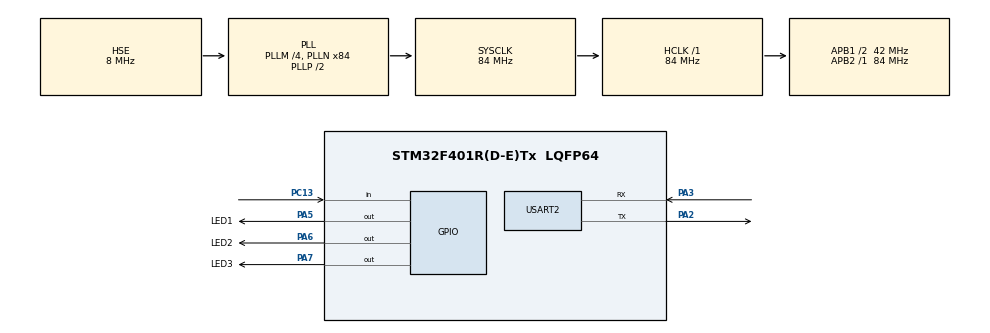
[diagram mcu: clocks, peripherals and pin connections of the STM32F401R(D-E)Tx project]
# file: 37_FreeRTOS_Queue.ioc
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Mcu.Family=STM32F4
Mcu.Name=STM32F401R(D-E)Tx
Mcu.Package=LQFP64
NVIC.PriorityGroup=NVIC_PRIORITYGROUP_4
NVIC.TIM1_TRG_COM_TIM11_IRQn=true\:15\:0\:false\:false\:true\:false\:true\:true
NVIC.TimeBase=TIM1_TRG_COM_TIM11_IRQn
NVIC.TimeBaseIP=TIM11
NVIC.USART2_IRQn=true\:0\:0\:false\:false\:true\:true\:true\:true
PA2.Mode=Asynchronous
PA2.Signal=USART2_TX
PA3.Mode=Asynchronous
PA3.Signal=USART2_RX
PA5.GPIO_Label=LED1
PA5.Signal=GPIO_Output
PA6.GPIO_Label=LED2
PA6.Signal=GPIO_Output
PA7.GPIO_Label=LED3
PA7.Signal=GPIO_Output
PC13-ANTI_TAMP.Signal=GPIO_Input
PH0\ -\ OSC_IN.Mode=HSE-External-Clock-Source
PH0\ -\ OSC_IN.Signal=RCC_OSC_IN
PH1\ -\ OSC_OUT.Mode=HSE-External-Clock-Source
PH1\ -\ OSC_OUT.Signal=RCC_OSC_OUT
ProjectManager.HeapSize=0x200
ProjectManager.StackSize=0x400
ProjectManager.TargetToolchain=STM32CubeIDE
RCC.48MHZClocksFreq_Value=42000000
RCC.AHBFreq_Value=84000000
RCC.APB1CLKDivider=RCC_HCLK_DIV2
RCC.APB1Freq_Value=42000000
RCC.APB1TimFreq_Value=84000000
RCC.APB2Freq_Value=84000000
RCC.APB2TimFreq_Value=84000000
RCC.CortexFreq_Value=84000000
RCC.HCLKFreq_Value=84000000
RCC.HSE_VALUE=8000000
RCC.HSI_VALUE=16000000
RCC.LSE_VALUE=32768
RCC.PLLM=4
RCC.PLLN=84
RCC.PLLSourceVirtual=RCC_PLLSOURCE_HSE
RCC.SYSCLKFreq_VALUE=84000000
RCC.SYSCLKSource=RCC_SYSCLKSOURCE_PLLCLK
RCC.VCOOutputFreq_Value=168000000
USART2.VirtualMode=VM_ASYNC
VP_SYS_VS_tim11.Mode=TIM11
board=custom

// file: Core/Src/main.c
/* USER CODE BEGIN Header */
/* USER CODE END Header */
#include "main.h"
#include "usart.h"
#include "gpio.h"

/* USER CODE BEGIN Includes */
#include "stdio.h"
#include "string.h"

#include "FreeRTOS.h"
#include "task.h"
#include "queue.h"
/* USER CODE END Includes */

/* USER CODE BEGIN PV */
xQueueHandle xQueue;

xTaskHandle xTask1;
xTaskHandle xTask2;

BaseType_t status;
/* USER CODE END PV */

void SystemClock_Config(void);
/* USER CODE BEGIN PFP */
void vTask1(void *params);
void vTask2(void *params);

/* USER CODE END PFP */

/* USER CODE BEGIN 0 */
#define SYSTEM_VIEW				1

void UART_Printf(char *format,...);

/* USER CODE END 0 */

int main(void)
{

  /* MCU Configuration--------------------------------------------------------*/

  /* Reset of all peripherals, Initializes the Flash interface and the Systick. */
  HAL_Init();

  /* Configure the system clock */
  SystemClock_Config();

  /* Initialize all configured peripherals */
  MX_GPIO_Init();
  MX_USART2_UART_Init();
  /* USER CODE BEGIN 2 */

  status = xTaskCreate(vTask1, "tarea1", configMINIMAL_STACK_SIZE, NULL, 1, &xTask1);
  configASSERT(status == pdPASS);
  status = xTaskCreate(vTask2, "tarea2", configMINIMAL_STACK_SIZE, NULL, 1, &xTask2);
  configASSERT(status == pdPASS);

  xQueue = xQueueCreate(5,sizeof(char));
  configASSERT(xQueue != NULL);

  vTaskStartScheduler();//Arrancamos el kernel

  /* USER CODE END 2 */

  /* Infinite loop */

}

void SystemClock_Config(void)
{
  RCC_OscInitTypeDef RCC_OscInitStruct = {0};
  RCC_ClkInitTypeDef RCC_ClkInitStruct = {0};

  /** Configure the main internal regulator output voltage
  */
  __HAL_RCC_PWR_CLK_ENABLE();
  __HAL_PWR_VOLTAGESCALING_CONFIG(PWR_REGULATOR_VOLTAGE_SCALE2);

  /** Initializes the RCC Oscillators according to the specified parameters
  * in the RCC_OscInitTypeDef structure.
  */
  RCC_OscInitStruct.OscillatorType = RCC_OSCILLATORTYPE_HSE;
  RCC_OscInitStruct.HSEState = RCC_HSE_BYPASS;
  RCC_OscInitStruct.PLL.PLLState = RCC_PLL_ON;
  RCC_OscInitStruct.PLL.PLLSource = RCC_PLLSOURCE_HSE;
  RCC_OscInitStruct.PLL.PLLM = 4;
  RCC_OscInitStruct.PLL.PLLN = 84;
  RCC_OscInitStruct.PLL.PLLP = RCC_PLLP_DIV2;
  RCC_OscInitStruct.PLL.PLLQ = 4;
  if (HAL_RCC_OscConfig(&RCC_OscInitStruct) != HAL_OK)
  {
    Error_Handler();
  }

  /** Initializes the CPU, AHB and APB buses clocks
  */
  RCC_ClkInitStruct.ClockType = RCC_CLOCKTYPE_HCLK|RCC_CLOCKTYPE_SYSCLK
                              |RCC_CLOCKTYPE_PCLK1|RCC_CLOCKTYPE_PCLK2;
  RCC_ClkInitStruct.SYSCLKSource = RCC_SYSCLKSOURCE_PLLCLK;
  RCC_ClkInitStruct.AHBCLKDivider = RCC_SYSCLK_DIV1;
  RCC_ClkInitStruct.APB1CLKDivider = RCC_HCLK_DIV2;
  RCC_ClkInitStruct.APB2CLKDivider = RCC_HCLK_DIV1;

  if (HAL_RCC_ClockConfig(&RCC_ClkInitStruct, FLASH_LATENCY_2) != HAL_OK)
  {
    Error_Handler();
  }
}

/* USER CODE BEGIN 4 */

void vTask1(void *params){
	uint8_t var;
	BaseType_t estado;
	for (;;){
		var++;
		estado = xQueueSend(xQueue,(void*)&var, HAL_MAX_DELAY);
		UART_Printf("enviando %u\n\r",var);
		vTaskDelay(pdMS_TO_TICKS(500));
	}
	vTaskDelete(NULL);

}

void vTask2(void *params){
	uint8_t var;
	BaseType_t estado;

	for(;;){
		estado = xQueueReceive(xQueue, (void*)&var, HAL_MAX_DELAY);
		UART_Printf("reciviendo %u\n\r",var);
		vTaskDelay(pdMS_TO_TICKS(500));

	}
	vTaskDelete(NULL);
}

void UART_Printf(char *format,...){
    char str[80];

    /*Extract the the argument list using VA apis */
    va_list args;
    va_start(args, format);
    vsprintf(str, format,args);
    HAL_UART_Transmit(&huart2, (uint8_t*)str, strlen(str), 10);
    va_end(args);
}
/* USER CODE END 4 */

void HAL_TIM_PeriodElapsedCallback(TIM_HandleTypeDef *htim)
{
  if (htim->Instance == TIM11) {
    HAL_IncTick();
  }
}

void Error_Handler(void)
{
}
